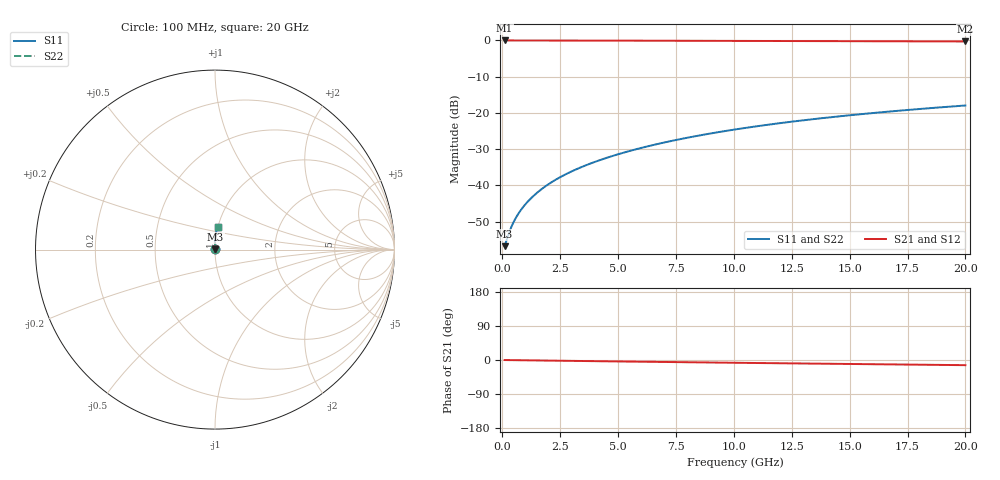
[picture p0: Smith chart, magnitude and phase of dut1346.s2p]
! Touchstone file exported from HFSS 2024.1.0
!  File:  C:/UserFiles/LocalFiles/RDL_TSV_Batchsim/temp_RDL_bottom_1346_1780370041.aedt
!  Generated:  11:16:44 AM Jun  2, 2026
!  Design:  RDL_bottom
!  Project:  temp_RDL_bottom_1346_1780370041
!  Setup:  Setup1
!  Solution:  Sweep
! Variables:
!  dtsv = 10.80580581um
!  hbump = 3um
!  htsv = 90.78um
!  ldown = 190.54um
!  lrdl = 100um
!  p = 40
!  p1 = 40.24um
!  rhole = 1um
!  t = 450um
!  tdown = 2.79um
!  trdl = 3.915915916um
!  wdown = 24.1um
!  wrdl = 20um
# GHz S MA R 50.000000
! Terminal data exported
! Port[1] = RDL1_T1
! Port[2] = RDL1_T2
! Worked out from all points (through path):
!   200 points, 100 MHz to 20 GHz, reference 50 ohm
!   highest |S21| = -0.01 dB at 100 MHz (marker M1); lowest = -0.3 dB at 20 GHz (marker M2)
!   group delay of S21, straight-line fit = 1.87 ps
!   lowest |S11| = -56.8 dB at 100 MHz (marker M3), VSWR 1.00, Z = 50.1 + j0.0605 ohm
!   |S11| at or under -10 dB: start of sweep to end of sweep
!   |S22| runs from -56.8 to -18.0 dB; largest |S21 - S12| = 4.7e-15
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0.1  0.001444 24.7  0.9987 -0.1  0.9987 -0.1  0.001444 24.7
! Gamma 0 0 0 0
! Port Impedance 50 0 50 0
0.3  0.002244 50.6  0.9985 -0.2  0.9985 -0.2  0.002244 50.6
0.4  0.002702 56.8  0.9985 -0.3  0.9985 -0.3  0.002702 56.8
0.5  0.003161 61.1  0.9984 -0.4  0.9984 -0.4  0.003161 61.1
0.6  0.00362 64.4  0.9983 -0.5  0.9983 -0.5  0.00362 64.4
0.8  0.004541 69.4  0.9982 -0.6  0.9982 -0.6  0.004541 69.4
1  0.005477 73.0  0.9981 -0.8  0.9981 -0.8  0.005477 73.0
1.2  0.006428 75.8  0.9979 -1.0  0.9979 -1.0  0.006428 75.8
1.7  0.008872 80.5  0.9976 -1.3  0.9976 -1.3  0.008872 80.5
2.2  0.0114 83.4  0.9971 -1.7  0.9971 -1.7  0.0114 83.4
2.8  0.01452 85.9  0.9965 -2.2  0.9965 -2.2  0.01452 85.9
3.5  0.01828 87.8  0.9956 -2.7  0.9956 -2.7  0.01828 87.8
4.2  0.02218 89.1  0.9946 -3.2  0.9946 -3.2  0.02218 89.1
5  0.0268 90.1  0.9933 -3.8  0.9933 -3.8  0.0268 90.1
5.9  0.03219 90.7  0.9917 -4.5  0.9917 -4.5  0.03219 90.7
6.8  0.03776 91.0  0.99 -5.1  0.99 -5.1  0.03776 91.0
8.4  0.04803 91.0  0.987 -6.2  0.987 -6.2  0.04803 91.0
10.1  0.0593 90.3  0.9838 -7.4  0.9838 -7.4  0.0593 90.3
11.7  0.0701 89.4  0.9809 -8.4  0.9809 -8.4  0.0701 89.4
13.4  0.08168 88.2  0.9779 -9.5  0.9779 -9.5  0.08168 88.2
16.7  0.1042 85.6  0.9725 -11.6  0.9725 -11.6  0.1042 85.6
20  0.1264 83.0  0.9673 -13.6  0.9673 -13.6  0.1264 83.0
